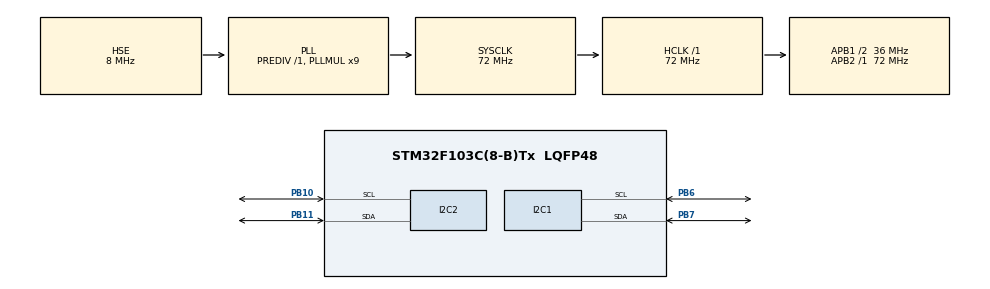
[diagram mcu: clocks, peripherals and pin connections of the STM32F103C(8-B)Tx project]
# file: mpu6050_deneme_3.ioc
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Mcu.Family=STM32F1
Mcu.Name=STM32F103C(8-B)Tx
Mcu.Package=LQFP48
NVIC.PriorityGroup=NVIC_PRIORITYGROUP_4
PA13.Mode=Serial_Wire
PA13.Signal=SYS_JTMS-SWDIO
PA14.Mode=Serial_Wire
PA14.Signal=SYS_JTCK-SWCLK
PB10.Mode=I2C
PB10.Signal=I2C2_SCL
PB11.Mode=I2C
PB11.Signal=I2C2_SDA
PB6.Mode=I2C
PB6.Signal=I2C1_SCL
PB7.Mode=I2C
PB7.Signal=I2C1_SDA
PD0-OSC_IN.Mode=HSE-External-Oscillator
PD0-OSC_IN.Signal=RCC_OSC_IN
PD1-OSC_OUT.Mode=HSE-External-Oscillator
PD1-OSC_OUT.Signal=RCC_OSC_OUT
ProjectManager.HeapSize=0x200
ProjectManager.StackSize=0x400
ProjectManager.TargetToolchain=STM32CubeIDE
RCC.AHBFreq_Value=72000000
RCC.APB1CLKDivider=RCC_HCLK_DIV2
RCC.APB1Freq_Value=36000000
RCC.APB1TimFreq_Value=72000000
RCC.APB2Freq_Value=72000000
RCC.APB2TimFreq_Value=72000000
RCC.HCLKFreq_Value=72000000
RCC.PLLMUL=RCC_PLL_MUL9
RCC.PLLSourceVirtual=RCC_PLLSOURCE_HSE
RCC.SYSCLKFreq_VALUE=72000000
RCC.SYSCLKSource=RCC_SYSCLKSOURCE_PLLCLK
RCC.USBFreq_Value=72000000
board=custom

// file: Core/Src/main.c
/* USER CODE BEGIN Header */
/**
  ******************************************************************************
  * @file           : main.c
  * @brief          : Main program body
  ******************************************************************************
  * @attention
  *
  * <h2><center>&copy; Copyright (c) 2020 STMicroelectronics.
  * All rights reserved.</center></h2>
  *
  * This software component is licensed by ST under BSD 3-Clause license,
  * the "License"; You may not use this file except in compliance with the
  * License. You may obtain a copy of the License at:
  *                        opensource.org/licenses/BSD-3-Clause
  *
  ******************************************************************************
  */
/* USER CODE END Header */
#include "main.h"

/* USER CODE BEGIN Includes */
#include "i2c-lcd.h"

/* USER CODE END Includes */

I2C_HandleTypeDef hi2c1;
I2C_HandleTypeDef hi2c2;

void SystemClock_Config(void);
static void MX_GPIO_Init(void);
static void MX_I2C1_Init(void);
static void MX_I2C2_Init(void);

/* USER CODE BEGIN 0 */
#define MPU6050_ADDR 0xD0

#define SMPLRT_DIV_REG 0x19
#define GYRO_CONFIG_REG 0x1B
#define ACCEL_CONFIG_REG 0x1C
#define ACCEL_XOUT_H_REG 0x3B
#define TEMP_OUT_H_REG 0x41
#define GYRO_XOUT_H_REG 0x43
#define PWR_MGMT_1_REG 0x6B
#define WHO_AM_I_REG 0x75

int16_t Accel_X_RAW = 0;
int16_t Accel_Y_RAW = 0;
int16_t Accel_Z_RAW = 0;

int16_t Gyro_X_RAW = 0;
int16_t Gyro_Y_RAW = 0;
int16_t Gyro_Z_RAW = 0;

float Ax, Ay, Az, Gx, Gy, Gz;

void MPU6050_Init (void)
{
	uint8_t check;
	uint8_t Data;

	// WHO_AM_I kontrol ediyorum

	HAL_I2C_Mem_Read (&hi2c1, MPU6050_ADDR,WHO_AM_I_REG,1, &check, 1, 1000);

	if (check == 104)  // Her şey yolunda giderse 0x68 sensör tarafından döndürülür
	{
		// sensör uyanır ve Saat 8 MHz'e kadar ayarlanır
		Data = 0;
		HAL_I2C_Mem_Write(&hi2c1, MPU6050_ADDR, PWR_MGMT_1_REG, 1,&Data, 1, 1000);

		Data = 0x07;
		HAL_I2C_Mem_Write(&hi2c1, MPU6050_ADDR, SMPLRT_DIV_REG, 1, &Data, 1, 1000);

		// XA_ST=0,YA_ST=0,ZA_ST=0, FS_SEL=0 -> � 2g
		Data = 0x00;
		HAL_I2C_Mem_Write(&hi2c1, MPU6050_ADDR, ACCEL_CONFIG_REG, 1, &Data, 1, 1000);

		// XG_ST=0,YG_ST=0,ZG_ST=0, FS_SEL=0 -> � 250 �/s
		Data = 0x00;
		HAL_I2C_Mem_Write(&hi2c1, MPU6050_ADDR, GYRO_CONFIG_REG, 1, &Data, 1, 1000);
	}

}

void MPU6050_Read_Accel (void)
{
	uint8_t Rec_Data[6];

	// Read 6 BYTES of data starting from ACCEL_XOUT_H register

	HAL_I2C_Mem_Read (&hi2c2, MPU6050_ADDR, ACCEL_XOUT_H_REG, 1, Rec_Data, 6, 1000);

	Accel_X_RAW = (int16_t)(Rec_Data[0] << 8 | Rec_Data [1]);
	Accel_Y_RAW = (int16_t)(Rec_Data[2] << 8 | Rec_Data [3]);
	Accel_Z_RAW = (int16_t)(Rec_Data[4] << 8 | Rec_Data [5]);

	/*** convert the RAW values into acceleration in 'g'
	     we have to divide according to the Full scale value set in FS_SEL
	     I have configured FS_SEL = 0. So I am dividing by 16384.0
	     for more details check ACCEL_CONFIG Register              ****/

	Ax = Accel_X_RAW/16384.0;
	Ay = Accel_Y_RAW/16384.0;
	Az = Accel_Z_RAW/16384.0;
}

void MPU6050_Read_Gyro (void)
{
	uint8_t Rec_Data[6];

	HAL_I2C_Mem_Read (&hi2c1, MPU6050_ADDR, GYRO_XOUT_H_REG, 1, Rec_Data, 6, 1000);

	Gyro_X_RAW = (int16_t)(Rec_Data[0] << 8 | Rec_Data [1]);
	Gyro_Y_RAW = (int16_t)(Rec_Data[2] << 8 | Rec_Data [3]);
	Gyro_Z_RAW = (int16_t)(Rec_Data[4] << 8 | Rec_Data [5]);

	Gx = Gyro_X_RAW/131.0;
	Gy = Gyro_Y_RAW/131.0;
	Gz = Gyro_Z_RAW/131.0;
}

/* USER CODE END 0 */

int main(void)
{

  /* MCU Configuration--------------------------------------------------------*/

  /* Reset of all peripherals, Initializes the Flash interface and the Systick. */
  HAL_Init();

  /* Configure the system clock */
  SystemClock_Config();

  /* Initialize all configured peripherals */
  MX_GPIO_Init();
  MX_I2C1_Init();
  MX_I2C2_Init();
  /* USER CODE BEGIN 2 */
  lcd_init();

   MPU6050_Init();

   lcd_send_string ("initialized");

   HAL_Delay (1000);  // wait for 1 sec

   lcd_clear ();

   lcd_send_cmd (0x80|0x5A);
   lcd_send_string ("MPU6050");

   char buf[4];

  /* USER CODE END 2 */

  /* Infinite loop */
  while (1)
  {

    /* USER CODE BEGIN 3 */
	  MPU6050_Read_Accel();
	  MPU6050_Read_Gyro();

	  	  lcd_send_cmd (0x80|0x00);
	  	  lcd_send_string("Ax=");
	  	  printf(buf,"%.2f",Ax);
	  	  lcd_send_string(buf);
	  	  lcd_send_string("g ");

	  	  lcd_send_cmd (0x80|0x40);
	  	  lcd_send_string("Ay=");
	  	  printf(buf,"%.2f",Ay);
	  	  lcd_send_string(buf);
	  	  lcd_send_string("g ");

	  	  lcd_send_cmd (0x80|0x14);
	  	  lcd_send_string("Az=");
	  	  printf(buf,"%.2f",Az);
	  	  lcd_send_string(buf);
	  	  lcd_send_string("g ");

	  	  lcd_send_cmd (0x80|0x0A);
	  	  lcd_send_string("Gx=");
	  	  printf(buf,"%.2f",Gx);
	  	  lcd_send_string(buf);

	  	  lcd_send_cmd (0x80|0x4A);
	  	  lcd_send_string("Gy=");
	  	  printf(buf,"%.2f",Gy);
	  	  lcd_send_string(buf);

	  	  lcd_send_cmd (0x80|0x1E);
	  	  lcd_send_string("Gz=");
	  	  printf(buf,"%.2f",Gz);
	  	  lcd_send_string(buf);

	  	  HAL_Delay (250);

  }
  /* USER CODE END 3 */
}

void SystemClock_Config(void)
{
  RCC_OscInitTypeDef RCC_OscInitStruct = {0};
  RCC_ClkInitTypeDef RCC_ClkInitStruct = {0};

  /** Initializes the RCC Oscillators according to the specified parameters
  * in the RCC_OscInitTypeDef structure.
  */
  RCC_OscInitStruct.OscillatorType = RCC_OSCILLATORTYPE_HSE;
  RCC_OscInitStruct.HSEState = RCC_HSE_ON;
  RCC_OscInitStruct.HSEPredivValue = RCC_HSE_PREDIV_DIV1;
  RCC_OscInitStruct.HSIState = RCC_HSI_ON;
  RCC_OscInitStruct.PLL.PLLState = RCC_PLL_ON;
  RCC_OscInitStruct.PLL.PLLSource = RCC_PLLSOURCE_HSE;
  RCC_OscInitStruct.PLL.PLLMUL = RCC_PLL_MUL9;
  if (HAL_RCC_OscConfig(&RCC_OscInitStruct) != HAL_OK)
  {
    Error_Handler();
  }
  /** Initializes the CPU, AHB and APB buses clocks
  */
  RCC_ClkInitStruct.ClockType = RCC_CLOCKTYPE_HCLK|RCC_CLOCKTYPE_SYSCLK
                              |RCC_CLOCKTYPE_PCLK1|RCC_CLOCKTYPE_PCLK2;
  RCC_ClkInitStruct.SYSCLKSource = RCC_SYSCLKSOURCE_PLLCLK;
  RCC_ClkInitStruct.AHBCLKDivider = RCC_SYSCLK_DIV1;
  RCC_ClkInitStruct.APB1CLKDivider = RCC_HCLK_DIV2;
  RCC_ClkInitStruct.APB2CLKDivider = RCC_HCLK_DIV1;

  if (HAL_RCC_ClockConfig(&RCC_ClkInitStruct, FLASH_LATENCY_2) != HAL_OK)
  {
    Error_Handler();
  }
}

static void MX_I2C1_Init(void)
{

  hi2c1.Instance = I2C1;
  hi2c1.Init.ClockSpeed = 100000;
  hi2c1.Init.DutyCycle = I2C_DUTYCYCLE_2;
  hi2c1.Init.OwnAddress1 = 0;
  hi2c1.Init.AddressingMode = I2C_ADDRESSINGMODE_7BIT;
  hi2c1.Init.DualAddressMode = I2C_DUALADDRESS_DISABLE;
  hi2c1.Init.OwnAddress2 = 0;
  hi2c1.Init.GeneralCallMode = I2C_GENERALCALL_DISABLE;
  hi2c1.Init.NoStretchMode = I2C_NOSTRETCH_DISABLE;
  if (HAL_I2C_Init(&hi2c1) != HAL_OK)
  {
    Error_Handler();
  }

}

static void MX_I2C2_Init(void)
{

  hi2c2.Instance = I2C2;
  hi2c2.Init.ClockSpeed = 100000;
  hi2c2.Init.DutyCycle = I2C_DUTYCYCLE_2;
  hi2c2.Init.OwnAddress1 = 0;
  hi2c2.Init.AddressingMode = I2C_ADDRESSINGMODE_7BIT;
  hi2c2.Init.DualAddressMode = I2C_DUALADDRESS_DISABLE;
  hi2c2.Init.OwnAddress2 = 0;
  hi2c2.Init.GeneralCallMode = I2C_GENERALCALL_DISABLE;
  hi2c2.Init.NoStretchMode = I2C_NOSTRETCH_DISABLE;
  if (HAL_I2C_Init(&hi2c2) != HAL_OK)
  {
    Error_Handler();
  }

}

static void MX_GPIO_Init(void)
{

  /* GPIO Ports Clock Enable */
  __HAL_RCC_GPIOD_CLK_ENABLE();
  __HAL_RCC_GPIOB_CLK_ENABLE();
  __HAL_RCC_GPIOA_CLK_ENABLE();

}

void Error_Handler(void)
{
  __disable_irq();
  while (1)
  {
  }
}

/************************ (C) COPYRIGHT STMicroelectronics *****END OF FILE****/
